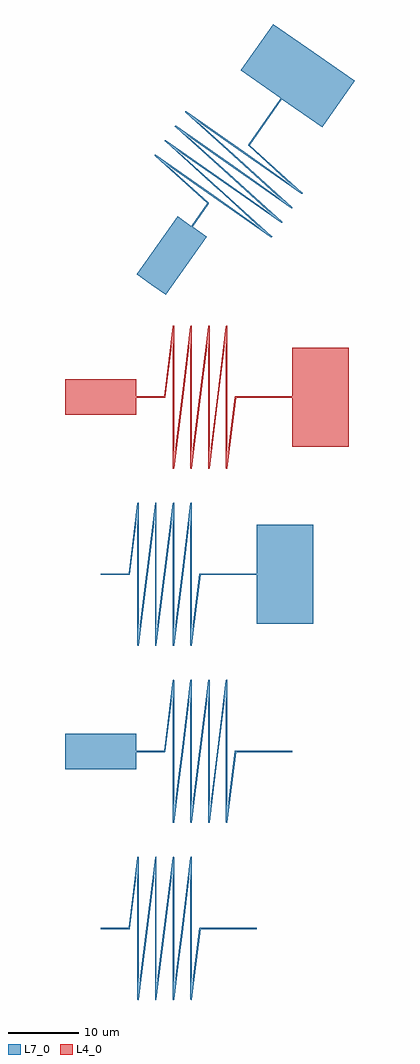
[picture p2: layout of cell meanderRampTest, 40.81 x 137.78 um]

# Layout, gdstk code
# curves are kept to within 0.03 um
import gdstk
lib = gdstk.Library(unit=1e-6, precision=1e-09)
def P(c, l, *ps):  # polygons
    for p in ps: c.add(gdstk.Polygon(p, *l))
L4_0 = (4, 0)
L7_0 = (7, 0)

meanderramptest = lib.new_cell('meanderRampTest')
P(meanderramptest, L4_0, [(-5,-2.5),(-5,0),(9.101,0),(9,-0.1),(5,-0.1),(5,-2.5)],
  [(10.25,-10.1),(10.177,-10.069),(10.15,-10),(10.15,0),(10.35,0),(10.35,-8.394),(11.399,0),(11.601,0),(10.349,-10.012),(10.316,-10.075)],
  [(12.75,-10.1),(12.677,-10.069),(12.65,-10),(12.65,0),(12.85,0),(12.85,-8.394),(13.899,0),(14.101,0),(12.849,-10.012),(12.816,-10.075)],
  [(15.25,-10.1),(15.177,-10.069),(15.15,-10),(15.15,0),(15.35,0),(15.35,-8.394),(16.399,0),(16.601,0),(15.349,-10.012),(15.316,-10.075)],
  [(17.75,-10.1),(17.65,-10),(17.65,0),(17.85,0),(17.85,-8.394),(18.899,0),(35,0),(35,-7),(27,-7),(27,-0.1),(19.088,-0.1),(17.849,-10.012)],
  [(13.899,0),(13.901,0.012),(15,8.806),(15,7.194),(14.101,0)],
  [(-5,0),(-5,2.5),(5,2.5),(5,0.1),(8.912,0.1),(10.151,10.012),(10.232,10.098),(10.334,10.054),(10.35,0),(10.15,0),(10.15,8.394),(9.101,0)],
  [(11.399,0),(12.651,10.012),(12.684,10.075),(12.756,10.1),(12.823,10.069),(12.85,10),(12.85,0),(12.65,0),(12.65,8.394),(11.601,0)],
  [(18.899,0),(19,0.1),(27,0.1),(27,7),(35,7),(35,0)],
  [(15.15,0),(15.15,8.394),(15,7.194),(15,8.806),(15.151,10.012),(15.184,10.075),(15.256,10.1),(15.323,10.069),(15.35,10),(15.35,0)],
  [(16.399,0),(17.651,10.012),(17.684,10.075),(17.756,10.1),(17.823,10.069),(17.85,10),(17.85,0),(17.65,0),(17.65,8.394),(16.601,0)])
P(meanderramptest, L7_0, [(0,-25.1),(0,-25),(4.101,-25),(4.099,-25.012),(4.095,-25.031),(4.088,-25.047),(4.078,-25.062),(4.066,-25.075),(4.052,-25.086),(4.036,-25.093),(4.019,-25.098),(4,-25.1)],
  [(5.25,-35.1),(5.177,-35.069),(5.15,-35),(5.15,-25),(5.35,-25),(5.35,-33.394),(6.399,-25),(6.601,-25),(5.349,-35.012),(5.316,-35.075)],
  [(7.75,-35.1),(7.677,-35.069),(7.65,-35),(7.65,-25),(7.85,-25),(7.85,-33.394),(8.899,-25),(9.101,-25),(7.849,-35.012),(7.816,-35.075)],
  [(10.25,-35.1),(10.177,-35.069),(10.15,-35),(10.15,-25),(10.35,-25),(10.35,-33.394),(11.399,-25),(11.601,-25),(10.349,-35.012),(10.316,-35.075)],
  [(12.75,-35.1),(12.677,-35.069),(12.65,-35),(12.65,-25),(12.85,-25),(12.85,-33.394),(13.899,-25),(15,-25),(15,-25.1),(14.088,-25.1),(12.849,-35.012),(12.816,-35.075)],
  [(22,-32),(22,-25.1),(15,-25.1),(15,-25),(30,-25),(30,-32)],
  [(13.899,-25),(13.901,-24.988),(13.905,-24.969),(13.912,-24.953),(13.922,-24.938),(13.934,-24.925),(13.948,-24.915),(13.964,-24.907),(13.982,-24.902),(14,-24.9),(15,-24.9),(15,-25)],
  [(0,-25),(0,-24.9),(3.912,-24.9),(5.151,-14.988),(5.198,-14.914),(5.293,-14.91),(5.35,-15),(5.35,-25),(5.15,-25),(5.15,-16.606),(4.101,-25)],
  [(6.399,-25),(7.651,-14.988),(7.684,-14.925),(7.756,-14.9),(7.823,-14.931),(7.85,-15),(7.85,-25),(7.65,-25),(7.65,-16.606),(6.601,-25)],
  [(8.899,-25),(10.151,-14.988),(10.184,-14.925),(10.256,-14.9),(10.323,-14.931),(10.35,-15),(10.35,-25),(10.15,-25),(10.15,-16.606),(9.101,-25)],
  [(11.399,-25),(12.651,-14.988),(12.684,-14.925),(12.756,-14.9),(12.823,-14.931),(12.85,-15),(12.85,-25),(12.65,-25),(12.65,-16.606),(11.601,-25)],
  [(15,-25),(15,-24.9),(22,-24.9),(22,-18),(30,-18),(30,-25)],
  [(-5,-52.5),(-5,-50),(9.101,-50),(9,-50.1),(5,-50.1),(5,-52.5)],
  [(10.25,-60.1),(10.177,-60.069),(10.15,-60),(10.15,-50),(10.35,-50),(10.35,-58.394),(11,-53.194),(11,-54.806),(10.349,-60.012),(10.316,-60.075)],
  [(11,-54.806),(11,-53.194),(11.399,-50),(11.601,-50),(11.599,-50.012)],
  [(12.75,-60.1),(12.677,-60.069),(12.65,-60),(12.65,-50),(12.85,-50),(12.85,-58.394),(13.899,-50),(14.101,-50),(12.849,-60.012),(12.816,-60.075)],
  [(15.25,-60.1),(15.177,-60.069),(15.15,-60),(15.15,-50),(15.35,-50),(15.35,-58.394),(16.399,-50),(16.601,-50),(15.349,-60.012),(15.316,-60.075)],
  [(17.75,-60.1),(17.677,-60.069),(17.65,-60),(17.65,-50),(17.85,-50),(17.85,-58.394),(18.899,-50),(27,-50),(27,-50.1),(19.088,-50.1),(17.849,-60.012),(17.816,-60.075)],
  [(-5,-50),(-5,-47.5),(5,-47.5),(5,-49.9),(8.912,-49.9),(10.151,-39.988),(10.232,-39.902),(10.334,-39.946),(10.35,-50),(10.15,-50),(10.15,-41.606),(9.101,-50)],
  [(18.899,-50),(18.901,-49.988),(18.905,-49.969),(18.912,-49.953),(18.922,-49.938),(18.934,-49.925),(18.948,-49.915),(18.964,-49.907),(18.982,-49.902),(19,-49.9),(27,-49.9),(27,-50)],
  [(11.399,-50),(12.651,-39.988),(12.684,-39.925),(12.756,-39.9),(12.823,-39.931),(12.85,-40),(12.85,-50),(12.65,-50),(12.65,-41.606),(11.601,-50)],
  [(13.899,-50),(15.151,-39.988),(15.184,-39.925),(15.256,-39.9),(15.323,-39.931),(15.35,-40),(15.35,-50),(15.15,-50),(15.15,-41.606),(14.101,-50)],
  [(16.399,-50),(17.651,-39.988),(17.684,-39.925),(17.756,-39.9),(17.823,-39.931),(17.85,-40),(17.85,-50),(17.65,-50),(17.65,-41.606),(16.601,-50)],
  [(0,-75.1),(0,-75),(4.101,-75),(4.099,-75.012),(4.095,-75.031),(4.088,-75.047),(4.078,-75.062),(4.066,-75.075),(4.052,-75.085),(4.036,-75.093),(4.019,-75.098),(4,-75.1)],
  [(5.25,-85.1),(5.177,-85.069),(5.15,-85),(5.15,-75),(5.35,-75),(5.35,-83.394),(6.399,-75),(6.601,-75),(5.349,-85.012),(5.316,-85.075)],
  [(7.75,-85.1),(7.677,-85.069),(7.65,-85),(7.65,-75),(7.85,-75),(7.85,-83.394),(8.899,-75),(9.101,-75),(7.849,-85.012),(7.816,-85.075)],
  [(10.25,-85.1),(10.177,-85.069),(10.15,-85),(10.15,-75),(10.35,-75),(10.35,-83.394),(11,-78.194),(11,-79.806),(10.349,-85.012),(10.316,-85.075)],
  [(11,-79.806),(11,-78.194),(11.399,-75),(11.601,-75),(11.599,-75.012)],
  [(12.75,-85.1),(12.677,-85.069),(12.65,-85),(12.65,-75),(12.85,-75),(12.85,-83.394),(13.899,-75),(22,-75),(22,-75.1),(14.088,-75.1),(12.849,-85.012),(12.816,-85.075)],
  [(0,-75),(0,-74.9),(3.912,-74.9),(5.151,-64.988),(5.198,-64.914),(5.293,-64.91),(5.35,-65),(5.35,-75),(5.15,-75),(5.15,-66.606),(4.101,-75)],
  [(6.399,-75),(7.651,-64.988),(7.684,-64.925),(7.756,-64.9),(7.823,-64.931),(7.85,-65),(7.85,-75),(7.65,-75),(7.65,-66.606),(6.601,-75)],
  [(8.899,-75),(10.151,-64.988),(10.184,-64.925),(10.256,-64.9),(10.323,-64.931),(10.35,-65),(10.35,-75),(10.15,-75),(10.15,-66.606),(9.101,-75)],
  [(13.899,-75),(13.901,-74.988),(13.905,-74.969),(13.912,-74.953),(13.922,-74.938),(13.934,-74.925),(13.948,-74.915),(13.964,-74.907),(13.982,-74.902),(14,-74.9),(22,-74.9),(22,-75)],
  [(11.399,-75),(12.651,-64.988),(12.684,-64.925),(12.756,-64.9),(12.823,-64.931),(12.85,-65),(12.85,-75),(12.65,-75),(12.65,-66.606),(11.601,-75)],
  [(9.18,14.47),(7.132,15.904),(15.22,27.455),(15.244,27.315),(12.95,24.038),(14.916,22.662)],
  [(24.071,22.561),(15.822,28.314),(15.937,28.478),(22.812,23.664),(16.538,29.338),(16.654,29.503),(24.138,22.735),(24.162,22.619)],
  [(25.505,24.608),(17.256,30.362),(17.37,30.526),(24.246,25.712),(17.972,31.386),(18.088,31.551),(25.572,24.783),(25.596,24.667)],
  [(26.939,26.656),(18.69,32.41),(18.804,32.574),(25.68,27.76),(19.406,33.433),(19.522,33.599),(27.006,26.83),(27.03,26.715)],
  [(28.372,28.704),(20.124,34.458),(20.238,34.622),(27.114,29.807),(20.84,35.481),(30.075,48.67),(35.809,44.655),(31.221,38.102),(25.568,42.06),(21.031,35.579),(28.44,28.878),(28.464,28.763)],
  [(7.132,15.904),(5.084,17.338),(10.82,25.53),(12.786,24.153),(15.03,27.357),(7.621,34.058),(7.597,34.173),(7.688,34.232),(15.937,28.478),(15.822,28.314),(8.946,33.129),(15.22,27.455)],
  [(16.538,29.338),(9.055,36.106),(9.022,36.169),(9.043,36.242),(9.1,36.278),(9.179,36.262),(17.37,30.526),(17.256,30.362),(10.38,35.177),(16.654,29.503)],
  [(17.972,31.386),(17.963,31.394),(11.39,37.338),(12.711,36.413),(18.088,31.551)],
  [(18.69,32.41),(11.814,37.225),(12.711,36.413),(11.39,37.338),(10.488,38.154),(10.456,38.217),(10.477,38.29),(10.534,38.325),(10.613,38.31),(18.804,32.574)],
  [(19.406,33.433),(11.922,40.202),(11.89,40.265),(11.911,40.338),(11.968,40.373),(12.047,40.358),(20.238,34.622),(20.124,34.458),(13.248,39.272),(19.522,33.599)],
  [(20.84,35.481),(20.816,35.621),(25.405,42.174),(19.752,46.132),(24.341,52.685),(30.075,48.67)])

lib.write_gds('meanderRampTest.gds')
